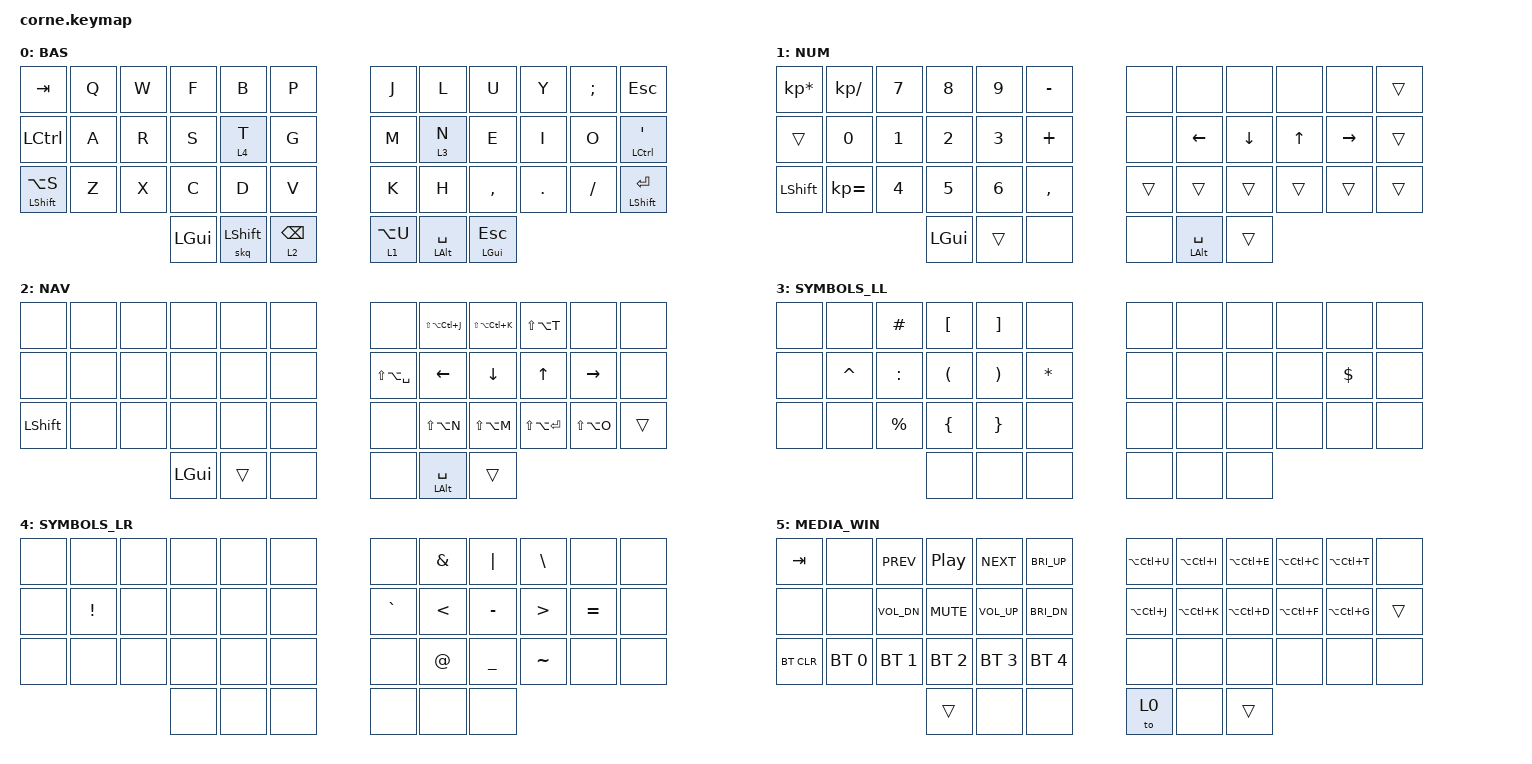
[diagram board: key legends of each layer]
/*
 * Copyright (c) 2020 The ZMK Contributors
 *
 * SPDX-License-Identifier: MIT
 */

#include <behaviors.dtsi>
#include <dt-bindings/zmk/keys.h>
#include <dt-bindings/zmk/bt.h>

/* Layers */

#define BAS  0
#define NUM  1
#define NAV  2

/ {
    behaviors {
      skq: sticky_key_quick_release {
        compatible = "zmk,behavior-sticky-key";
        label = "STICKY_KEY_QUICK_RELEASE";
        #binding-cells = <1>;
        bindings = <&kp>;
        release-after-ms = <1000>;
        quick-release;
      };
    };

    combos {
        compatible = "zmk,combos";

        combo_winmed {
            bindings = <&to 5>;
            key-positions = <38 39>;
            layers = <0>;
        };
    };

    keymap {
        compatible = "zmk,keymap";

        base_layer {
            label = "BAS";
            bindings = <
        &kp TAB         &kp Q  &kp W     &kp F           &kp B        &kp P       &kp J           &kp L         &kp U    &kp Y  &kp SEMI        &kp ESC
        &kp LCTRL       &kp A  &kp R     &kp S         &lt 4 T        &kp G       &kp M         &lt 3 N         &kp E    &kp I     &kp O  &mt LCTRL SQT
        &mt LSHFT LA(S)  &kp Z  &kp X     &kp C           &kp D        &kp V       &kp K           &kp H     &kp COMMA  &kp DOT  &kp FSLH  &mt LSHFT RET
                               &kp LGUI      &skq LSHFT     &lt 2 BSPC          &lt 1 LA(U)   &mt LALT SPACE  &mt LGUI ESC
            >;
        };

        number_layer {
            label = "NUM";
            bindings = <
&kp KP_MULTIPLY  &kp KP_DIVIDE  &kp N7    &kp N8  &kp N9  &kp MINUS   &none           &none     &none   &none      &none  &trans
         &trans         &kp N0  &kp N1    &kp N2  &kp N3   &kp PLUS   &none        &kp LEFT  &kp DOWN  &kp UP  &kp RIGHT  &trans
      &kp LSHFT   &kp KP_EQUAL  &kp N4    &kp N5  &kp N6  &kp COMMA  &trans          &trans    &trans  &trans     &trans  &trans
                                        &kp LGUI  &trans      &none   &none  &mt LALT SPACE    &trans
            >;
        };

        navigation_layer {
            label = "NAV";
            bindings = <
    &none  &none  &none     &none   &none  &none              &none  &kp LS(LA(LC(J)))  &kp LS(LA(LC(K)))    &kp LS(LA(T))          &none   &none
    &none  &none  &none     &none   &none  &none  &kp LS(LA(SPACE))           &kp LEFT           &kp DOWN           &kp UP      &kp RIGHT   &none
&kp LSHFT  &none  &none     &none   &none  &none              &none      &kp LS(LA(N))      &kp LS(LA(M))  &kp LS(LA(RET))  &kp LS(LA(O))  &trans
                         &kp LGUI  &trans  &none              &none     &mt LALT SPACE             &trans
            >;
        };

        SYMBOLS_LL {
            bindings = <
&none      &none   &kp HASH  &kp LEFT_BRACKET  &kp RIGHT_BRACKET     &none  &none  &none  &none  &none       &none  &none
&none  &kp CARET  &kp COLON          &kp LPAR           &kp RPAR  &kp STAR  &none  &none  &none  &none  &kp DOLLAR  &none
&none      &none  &kp PRCNT          &kp LBRC           &kp RBRC     &none  &none  &none  &none  &none       &none  &none
                                        &none              &none     &none  &none  &none  &none
            >;
        };

        SYMBOLS_LR {
            bindings = <
&none     &none  &none  &none  &none  &none      &none       &kp AMPS   &kp PIPE          &kp BSLH      &none  &none
&none  &kp EXCL  &none  &none  &none  &none  &kp GRAVE  &kp LESS_THAN  &kp MINUS  &kp GREATER_THAN  &kp EQUAL  &none
&none     &none  &none  &none  &none  &none      &none         &kp AT  &kp UNDER         &kp TILDE      &none  &none
                        &none  &none  &none      &none          &none      &none
            >;
        };

        MEDIA_WIN {
            bindings = <
   &kp TAB         &none    &kp C_PREV  &kp C_PLAY_PAUSE    &kp C_NEXT  &kp C_BRI_UP  &kp LA(LC(U))  &kp LA(LC(I))  &kp LA(LC(E))  &kp LA(LC(C))  &kp LA(LC(T))   &none
     &none         &none  &kp C_VOL_DN        &kp C_MUTE  &kp C_VOL_UP  &kp C_BRI_DN  &kp LA(LC(J))  &kp LA(LC(K))  &kp LA(LC(D))  &kp LA(LC(F))  &kp LA(LC(G))  &trans
&bt BT_CLR  &bt BT_SEL 0  &bt BT_SEL 1      &bt BT_SEL 2  &bt BT_SEL 3  &bt BT_SEL 4          &none          &none          &none          &none          &none   &none
                                                  &trans         &none         &none          &to 0          &none         &trans
            >;
        };
    };
};
